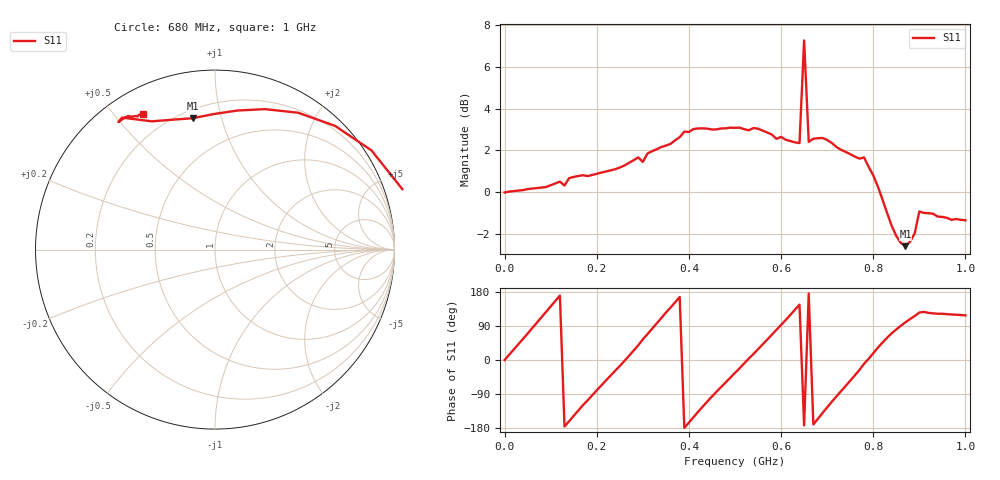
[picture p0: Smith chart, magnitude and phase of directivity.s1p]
! Created with skrf 1.8.0 (http://scikit-rf.org).
# Hz S RI R 50.0
!freq ReS11 ImS11
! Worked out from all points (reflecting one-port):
!   101 points, 50 kHz to 1 GHz, reference 50 ohm
!   lowest |S11| = -2.6 dB at 870 MHz (marker M1), VSWR 6.77, Z = 12.5 + j40.7 ohm
!   phase of S11 starts at 0 deg and turns +1198 deg over the sweep
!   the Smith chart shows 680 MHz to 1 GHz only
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50000  0.9982 0.0008
4.0048e7  0.5695 0.836
7.00465e7  -0.1496 1.012
1.300435e8  -1.034 -0.0819
1.900405e8  -0.062 -1.098
2.500375e8  1.103 -0.3087
2.80036e8  1.081 0.5034
3.20034e8  0.1696 1.242
3.500325e8  -0.7406 1.06
3.80031e8  -1.317 0.3179
4.100295e8  -1.237 -0.6903
4.40028e8  -0.4725 -1.338
4.700265e8  0.4581 -1.345
5.00025e8  1.182 -0.7974
5.40023e8  1.37 0.3908
5.80021e8  0.5405 1.263
6.300185e8  -0.8922 0.9678
6.40018e8  -1.087 0.7328
6.500175e8  -2.29 -0.2952
6.60017e8  -1.316 0.1035
7.100145e8  -0.457 -1.23
7.500125e8  0.7118 -1.007
7.900105e8  1.149 0.0635
8.20009e8  0.6691 0.6892
8.700065e8  -0.1239 0.732
8.80006e8  -0.2361 0.7238
9.100045e8  -0.5382 0.7109
1e9  -0.3991 0.7577
